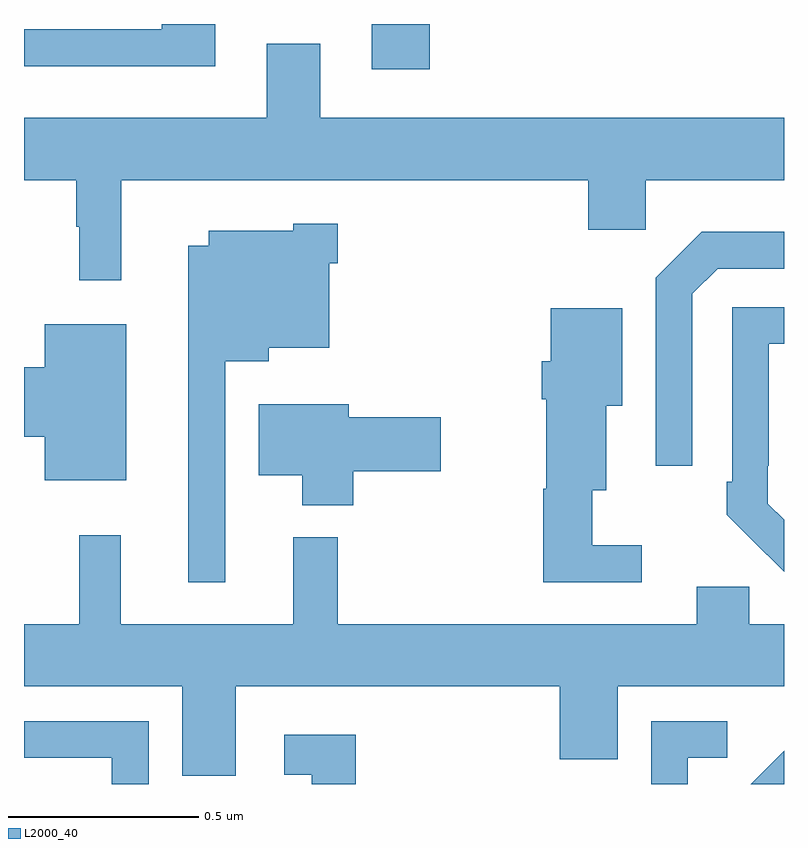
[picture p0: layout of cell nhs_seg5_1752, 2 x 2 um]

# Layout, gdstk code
import gdstk
lib = gdstk.Library(unit=1e-6, precision=1e-09)
def R(c, l, rs):  # rectangles x0, y0, x1, y1
    for r in rs: c.add(gdstk.rectangle(r[:2], r[2:], *l))
def P(c, l, *ps):  # polygons
    for p in ps: c.add(gdstk.Polygon(p, *l))
L2000_40 = (2000, 40)

nhs_seg5_1752 = lib.new_cell('nhs_seg5_1752')
R(nhs_seg5_1752, L2000_40, [(134.915,895.68,135.068,895.799)])
P(nhs_seg5_1752, L2000_40, [(134.503,895.799),(134.363,895.799),(134.363,895.785),(134,895.785),(134,895.688),(134.503,895.688)],
  [(134.256,895.388),(135.485,895.388),(135.485,895.257),(135.636,895.257),(135.636,895.388),(136,895.388),(136,895.552),(134.779,895.552),(134.779,895.747),(134.639,895.747),(134.639,895.552),(134,895.552),(134,895.388),(134.137,895.388),(134.137,895.265),(134.145,895.265),(134.145,895.125),(134.256,895.125)],
  [(134.529,894.911),(134.644,894.911),(134.644,894.947),(134.803,894.947),(134.803,895.169),(134.825,895.169),(134.825,895.273),(134.709,895.273),(134.709,895.255),(134.486,895.255),(134.486,895.216),(134.432,895.216),(134.432,894.33),(134.529,894.33)],
  [(135.759,895.089),(135.825,895.155),(136,895.155),(136,895.252),(135.784,895.252),(135.663,895.131),(135.663,894.636),(135.759,894.636)],
  [(136,894.494),(135.957,894.537),(135.957,894.637),(135.96,894.637),(135.96,894.957),(136,894.957),(136,895.053),(135.864,895.053),(135.864,894.595),(135.849,894.595),(135.849,894.507),(135.954,894.402),(135.955,894.403),(136,894.358)],
  [(135.625,894.427),(135.496,894.427),(135.496,894.572),(135.532,894.572),(135.532,894.794),(135.574,894.794),(135.574,895.051),(135.386,895.051),(135.386,894.912),(135.362,894.912),(135.362,894.812),(135.374,894.812),(135.374,894.576),(135.367,894.576),(135.367,894.33),(135.625,894.33)],
  [(134.269,895.009),(134.054,895.009),(134.054,894.896),(134,894.896),(134,894.713),(134.054,894.713),(134.054,894.599),(134.269,894.599)],
  [(134.867,894.622),(135.097,894.622),(135.097,894.764),(134.854,894.764),(134.854,894.799),(134.618,894.799),(134.618,894.611),(134.732,894.611),(134.732,894.533),(134.867,894.533)],
  [(135.41,893.864),(135.562,893.864),(135.562,894.056),(136,894.056),(136,894.22),(135.909,894.22),(135.909,894.318),(135.77,894.318),(135.77,894.22),(134.825,894.22),(134.825,894.448),(134.708,894.448),(134.708,894.22),(134.255,894.22),(134.255,894.454),(134.145,894.454),(134.145,894.22),(134,894.22),(134,894.056),(134.417,894.056),(134.417,893.821),(134.557,893.821),(134.557,894.056),(135.41,894.056)],
  [(135.747,893.868),(135.85,893.868),(135.85,893.964),(135.651,893.964),(135.651,893.799),(135.747,893.799)],
  [(134.328,893.964),(134,893.964),(134,893.868),(134.231,893.868),(134.231,893.799),(134.328,893.799)],
  [(134.873,893.929),(134.685,893.929),(134.685,893.823),(134.757,893.823),(134.757,893.799),(134.873,893.799)],
  [(136,893.887),(135.929,893.815),(135.913,893.799),(136,893.799)])

lib.write_gds('nhs_seg5_1752.gds')
